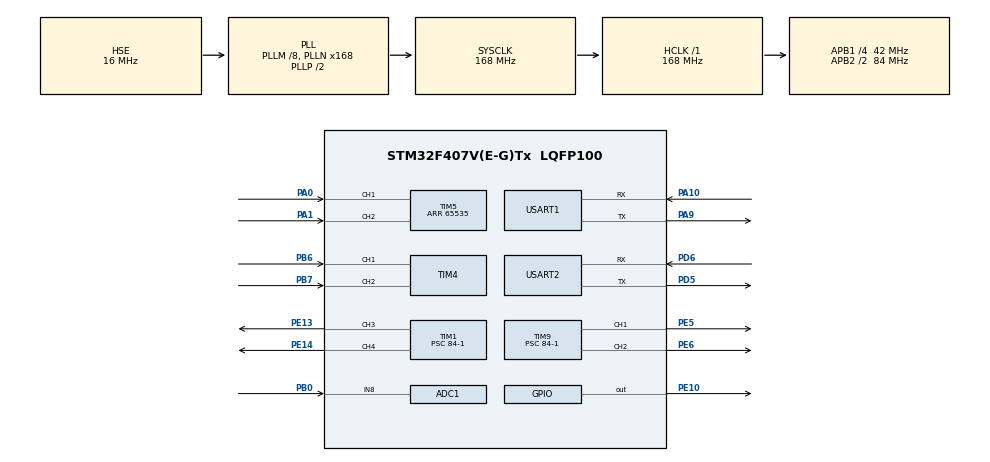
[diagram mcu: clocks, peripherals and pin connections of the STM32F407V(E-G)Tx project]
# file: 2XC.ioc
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ADC1.Channel-0\#ChannelRegularConversion=ADC_CHANNEL_8
ADC1.NbrOfConversionFlag=1
ADC1.Rank-0\#ChannelRegularConversion=1
ADC1.SamplingTime-0\#ChannelRegularConversion=ADC_SAMPLETIME_3CYCLES
ADC1.master=1
Mcu.Family=STM32F4
Mcu.Name=STM32F407V(E-G)Tx
Mcu.Package=LQFP100
NVIC.PriorityGroup=NVIC_PRIORITYGROUP_4
NVIC.TIM6_DAC_IRQn=true\:1\:0\:true\:false\:true\:true\:true\:true
NVIC.TIM7_IRQn=true\:10\:0\:true\:false\:true\:true\:true\:true
NVIC.USART1_IRQn=true\:0\:0\:false\:false\:true\:true\:true\:true
NVIC.USART2_IRQn=true\:0\:0\:false\:false\:true\:true\:true\:true
PA0-WKUP.Signal=S_TIM5_CH1
PA1.Signal=S_TIM5_CH2
PA10.Mode=Asynchronous
PA10.Signal=USART1_RX
PA13.Mode=Serial_Wire
PA13.Signal=SYS_JTMS-SWDIO
PA14.Mode=Serial_Wire
PA14.Signal=SYS_JTCK-SWCLK
PA9.Mode=Asynchronous
PA9.Signal=USART1_TX
PB0.Signal=ADCx_IN8
PB6.Signal=S_TIM4_CH1
PB7.Signal=S_TIM4_CH2
PD5.Mode=Asynchronous
PD5.Signal=USART2_TX
PD6.Mode=Asynchronous
PD6.Signal=USART2_RX
PE10.Signal=GPIO_Output
PE13.Signal=S_TIM1_CH3
PE14.Signal=S_TIM1_CH4
PE5.Signal=S_TIM9_CH1
PE6.Signal=S_TIM9_CH2
PH0-OSC_IN.Mode=HSE-External-Oscillator
PH0-OSC_IN.Signal=RCC_OSC_IN
PH1-OSC_OUT.Mode=HSE-External-Oscillator
PH1-OSC_OUT.Signal=RCC_OSC_OUT
ProjectManager.HeapSize=0x200
ProjectManager.StackSize=0x400
ProjectManager.TargetToolchain=STM32CubeIDE
RCC.48MHZClocksFreq_Value=84000000
RCC.AHBFreq_Value=168000000
RCC.APB1CLKDivider=RCC_HCLK_DIV4
RCC.APB1Freq_Value=42000000
RCC.APB1TimFreq_Value=84000000
RCC.APB2CLKDivider=RCC_HCLK_DIV2
RCC.APB2Freq_Value=84000000
RCC.APB2TimFreq_Value=168000000
RCC.CortexFreq_Value=168000000
RCC.HCLKFreq_Value=168000000
RCC.HSE_VALUE=16000000
RCC.HSI_VALUE=16000000
RCC.LSE_VALUE=32768
RCC.PLLM=8
RCC.PLLN=168
RCC.PLLSourceVirtual=RCC_PLLSOURCE_HSE
RCC.SYSCLKFreq_VALUE=168000000
RCC.SYSCLKSource=RCC_SYSCLKSOURCE_PLLCLK
RCC.VCOOutputFreq_Value=336000000
SH.ADCx_IN8.0=ADC1_IN8,IN8
SH.S_TIM1_CH3.0=TIM1_CH3,PWM Generation3 CH3
SH.S_TIM1_CH4.0=TIM1_CH4,PWM Generation4 CH4
SH.S_TIM4_CH1.0=TIM4_CH1,Encoder_Interface
SH.S_TIM4_CH2.0=TIM4_CH2,Encoder_Interface
SH.S_TIM5_CH1.0=TIM5_CH1,Encoder_Interface
SH.S_TIM5_CH2.0=TIM5_CH2,Encoder_Interface
SH.S_TIM9_CH1.0=TIM9_CH1,PWM Generation1 CH1
SH.S_TIM9_CH2.0=TIM9_CH2,PWM Generation2 CH2
TIM1.Channel-PWM\ Generation3\ CH3=TIM_CHANNEL_3
TIM1.Channel-PWM\ Generation4\ CH4=TIM_CHANNEL_4
TIM1.Period=1000
TIM1.Prescaler=84-1
TIM4.EncoderMode=TIM_ENCODERMODE_TI12
TIM4.IC1Filter=1
TIM4.IC2Filter=1
TIM5.EncoderMode=TIM_ENCODERMODE_TI12
TIM5.IC1Filter=1
TIM5.IC2Filter=1
TIM5.Period=65535
TIM6.Period=8400-1
TIM6.Prescaler=500-1
TIM7.Period=8400-1
TIM7.Prescaler=10*1000-1
TIM9.Channel-PWM\ Generation1\ CH1=TIM_CHANNEL_1
TIM9.Channel-PWM\ Generation2\ CH2=TIM_CHANNEL_2
TIM9.Period=1000
TIM9.Prescaler=84-1
USART1.VirtualMode=VM_ASYNC
USART2.VirtualMode=VM_ASYNC
VP_TIM1_VS_ClockSourceINT.Mode=Internal
VP_TIM6_VS_ClockSourceINT.Mode=Enable_Timer
VP_TIM7_VS_ClockSourceINT.Mode=Enable_Timer
VP_TIM9_VS_ClockSourceINT.Mode=Internal
board=custom

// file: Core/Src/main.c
/* USER CODE BEGIN Header */
/**
  ******************************************************************************
  * @file           : main.c
  * @brief          : Main program body
  ******************************************************************************
  * @attention
  *
  * Copyright (c) 2025 STMicroelectronics.
  * All rights reserved.
  *
  * This software is licensed under terms that can be found in the LICENSE file
  * in the root directory of this software component.
  * If no LICENSE file comes with this software, it is provided AS-IS.
  *
  ******************************************************************************
  */
/* USER CODE END Header */
#include "main.h"
#include "adc.h"
#include "tim.h"
#include "usart.h"
#include "gpio.h"

/* USER CODE BEGIN Includes */
#include <string.h>
#include <stdio.h>
#include <stdbool.h>
#include "motor.h"
#include "encoder.h"
#include "pid.h"
//#include "pid.h"
/* USER CODE END Includes */

/* USER CODE BEGIN PD */
#define RXBUFFERSIZE  255     //最大的接受字节数
#define TXBUFFERSIZE  255     //最大发送字节数
#define MAX_DUTY 1000
//#define MAX_SPEED 1000
/* USER CODE END PD */

/* USER CODE BEGIN PV */
char RxBuffer1[RXBUFFERSIZE];   //接受数据
char TxBuffer1[TXBUFFERSIZE];   //发送数据
uint8_t RxSucceeflag1 = 0;    //接受成功标志

char RxBuffer2[RXBUFFERSIZE];   //接受数据
char TxBuffer2[TXBUFFERSIZE];   //发送数据
uint8_t RxSucceeflag2 = 0;    //接受成功标志

SensorData sensorData = {0};  // Initialize all values to 0
float Batvol=0;
// Z轴角度归零指令
uint8_t hexData[] = {0xFF, 0xAA, 0x52};

WheelSpeeds Currentspeeds = {0}; // Initialize all values to 0
int TargetSpeed = 0, TargetOmega = 0;
bool Speedupdateflag = 0, Pidupdateflag = 0, debug = 0,stop=0;

/* USER CODE END PV */

void SystemClock_Config(void);
/* USER CODE BEGIN PFP */
/**
 * @param pid_out  PID 输出，范围 [0,1000]
 * @param voltage  当前电池电压，范围约 11.1–12.6 V
 * @return         PWM 占空比 duty，范围 [0,1000]
 */
float out2duty(float pid_out, float voltage) {
    // 1. 计算起动死区对应的最小占空比
    const float V_start = 2.2f;      // 起转电压
    float duty_min = V_start / voltage * 1000.0f;

    // 2. 计算满转对应的最大占空比（不超过 1000）
    const float V_full  = 12.0f;     // 满转电压
    float duty_max = V_full / voltage * 1000.0f;
    if (duty_max > 1000.0f) duty_max = 1000.0f;

    // 3. 线性映射
    float duty_range = duty_max - duty_min;
    return duty_min + (pid_out / 1000.0f) * duty_range;
}
void MotorRun(WheelSpeeds speeds)
{
	float voltage= Batvol;         // 获取转换结果

    // 左前轮 (FL)
    if (speeds.wheel_L == 0) {
        // Brake - set both channels high
        __HAL_TIM_SET_COMPARE(&htim1, TIM_CHANNEL_3, MAX_DUTY);
        __HAL_TIM_SET_COMPARE(&htim1, TIM_CHANNEL_4, MAX_DUTY);
    } else if (speeds.wheel_L > 0) {
        // Forward
        __HAL_TIM_SET_COMPARE(&htim1, TIM_CHANNEL_3, 0);
        __HAL_TIM_SET_COMPARE(&htim1, TIM_CHANNEL_4, out2duty(speeds.wheel_L,voltage));
    } else {
        // Backward
        __HAL_TIM_SET_COMPARE(&htim1, TIM_CHANNEL_3, out2duty(speeds.wheel_L,voltage));
        __HAL_TIM_SET_COMPARE(&htim1, TIM_CHANNEL_4, 0);
    }

    // 右前轮 (FR)
    if (speeds.wheel_R == 0) {
        // Brake - set both channels high
        __HAL_TIM_SET_COMPARE(&htim9, TIM_CHANNEL_1, MAX_DUTY);
        __HAL_TIM_SET_COMPARE(&htim9, TIM_CHANNEL_2, MAX_DUTY);
    } else if (speeds.wheel_R > 0) {
        // Forward
        __HAL_TIM_SET_COMPARE(&htim9, TIM_CHANNEL_1, 0);
        __HAL_TIM_SET_COMPARE(&htim9, TIM_CHANNEL_2, out2duty(speeds.wheel_R,voltage));
    } else {
        // Backward
        __HAL_TIM_SET_COMPARE(&htim9, TIM_CHANNEL_1, out2duty(speeds.wheel_R,voltage));
        __HAL_TIM_SET_COMPARE(&htim9, TIM_CHANNEL_2, 0);
    }
}
/* USER CODE END PFP */

int main(void)
{

  /* MCU Configuration--------------------------------------------------------*/

  /* Reset of all peripherals, Initializes the Flash interface and the Systick. */
  HAL_Init();

  /* Configure the system clock */
  SystemClock_Config();

  /* Initialize all configured peripherals */
  MX_GPIO_Init();
  MX_USART2_UART_Init();
  MX_USART1_UART_Init();
  MX_TIM4_Init();
  MX_TIM5_Init();
  MX_TIM6_Init();
  MX_TIM7_Init();
  MX_TIM9_Init();
  MX_TIM1_Init();
  MX_ADC1_Init();
  /* USER CODE BEGIN 2 */

  // 确保正确启动第一次接收
  if(HAL_UART_Receive_IT(&huart1, (uint8_t *)RxBuffer1, 5) != HAL_OK) // 修改接收长度为5
  {
      Error_Handler();
  }
  if(HAL_UART_Receive_IT(&huart2, (uint8_t *)RxBuffer2, 44) != HAL_OK)
  {
        Error_Handler();
  }
  HAL_TIM_PWM_Start(&htim1, TIM_CHANNEL_3);
  HAL_TIM_PWM_Start(&htim1, TIM_CHANNEL_4);
  HAL_TIM_PWM_Start(&htim9, TIM_CHANNEL_1);
  HAL_TIM_PWM_Start(&htim9, TIM_CHANNEL_2);
  HAL_ADC_Start(&hadc1);
  HAL_TIM_Base_Start_IT(&htim6);
  HAL_TIM_Base_Start_IT(&htim7); //debug
  HAL_TIM_Encoder_Start(&htim4, TIM_CHANNEL_ALL);
  HAL_TIM_Encoder_Start(&htim5, TIM_CHANNEL_ALL);

//  MotorRun(speed);
  TargetSpeed=0;

  HAL_ADC_PollForConversion(&hadc1, 50); // 等待转换完成
  Batvol=(HAL_ADC_GetValue(&hadc1) / 4095.0) * 3.3*11;           // 获取转换结果

  /* USER CODE END 2 */

  /* Infinite loop */
  /* USER CODE BEGIN WHILE */
  while (1)
  {
//    if(RxSucceeflag2 == 1)
//    {
//      // HAL_UART_Transmit(&huart2, hexData, sizeof(hexData), HAL_MAX_DELAY);
//    	//上面其他作用
//
//        memset(TxBuffer1, 0x00, sizeof(TxBuffer1));
//        sprintf(TxBuffer1, "W_X%.2f,W_Y%.2f,W_Z%.2f,R%.2f,P%.2f,Y_A%.2f\r\n",
//                sensorData.gyro.x, sensorData.gyro.y, sensorData.gyro.z,
//                sensorData.angle.roll, sensorData.angle.pitch, sensorData.angle.yaw);
//        HAL_UART_Transmit(&huart1, (uint8_t*)TxBuffer1, strlen(TxBuffer1), 100);
//
//        RxSucceeflag2 = 0;
//    }

//    if(Pidupdateflag == 1){
//
//    	if(stop==0){
//    	MotorRun(balance(sensorData, Currentspeeds,
//        TargetSpeed, TargetOmega,
//        &angle_pid, &speed_pid, &turn_pid, &wheel_pid_L, &wheel_pid_R));
//    	HAL_GPIO_TogglePin(GPIOE, GPIO_PIN_10);
//    	}
//    	else{
//    	  __HAL_TIM_SET_COMPARE(&htim1, TIM_CHANNEL_3, MAX_DUTY);
//    	  __HAL_TIM_SET_COMPARE(&htim1, TIM_CHANNEL_4, MAX_DUTY);
//    	  __HAL_TIM_SET_COMPARE(&htim9, TIM_CHANNEL_1, MAX_DUTY);
//    	  __HAL_TIM_SET_COMPARE(&htim9, TIM_CHANNEL_2, MAX_DUTY);
//    	}
//    	Pidupdateflag = 0;
//    }
    if(debug == 1){
//
//             /* ------------------调试用------------------*/
//    	        // 利用 sprintf 将结果附加到 info 数组后面
//    	     char info[100]="Target:";
//    	        sprintf(info + strlen(info), " S: %6d", TargetSpeed);
//    	        sprintf(info + strlen(info), " O: %6d\n", TargetOmega);
//    	        HAL_UART_Transmit(&huart1, (uint8_t*)info, strlen(info), 50);
//    	     // 调试输出当前脉冲数据
//    	     char info1[100] = "Pace:";
//    	     sprintf(info1 + strlen(info1), " L: %6.2f", Currentspeeds.wheel_L);
//    	     sprintf(info1 + strlen(info1), " R: %6.2f\n", Currentspeeds.wheel_R);
//    	     HAL_UART_Transmit(&huart1, (uint8_t*)info1, strlen(info1), 100);

    	     debug = 0;
    	     if(sensorData.angle.pitch>=60||sensorData.angle.pitch<=-60){
    	    	 stop=1;
    	     }
    	     else
    	    	 stop=0;

    	 }
    /* USER CODE END WHILE */

  }
}

void SystemClock_Config(void)
{
  RCC_OscInitTypeDef RCC_OscInitStruct = {0};
  RCC_ClkInitTypeDef RCC_ClkInitStruct = {0};

  /** Configure the main internal regulator output voltage
  */
  __HAL_RCC_PWR_CLK_ENABLE();
  __HAL_PWR_VOLTAGESCALING_CONFIG(PWR_REGULATOR_VOLTAGE_SCALE1);

  /** Initializes the RCC Oscillators according to the specified parameters
  * in the RCC_OscInitTypeDef structure.
  */
  RCC_OscInitStruct.OscillatorType = RCC_OSCILLATORTYPE_HSE;
  RCC_OscInitStruct.HSEState = RCC_HSE_ON;
  RCC_OscInitStruct.PLL.PLLState = RCC_PLL_ON;
  RCC_OscInitStruct.PLL.PLLSource = RCC_PLLSOURCE_HSE;
  RCC_OscInitStruct.PLL.PLLM = 8;
  RCC_OscInitStruct.PLL.PLLN = 168;
  RCC_OscInitStruct.PLL.PLLP = RCC_PLLP_DIV2;
  RCC_OscInitStruct.PLL.PLLQ = 4;
  if (HAL_RCC_OscConfig(&RCC_OscInitStruct) != HAL_OK)
  {
    Error_Handler();
  }

  /** Initializes the CPU, AHB and APB buses clocks
  */
  RCC_ClkInitStruct.ClockType = RCC_CLOCKTYPE_HCLK|RCC_CLOCKTYPE_SYSCLK
                              |RCC_CLOCKTYPE_PCLK1|RCC_CLOCKTYPE_PCLK2;
  RCC_ClkInitStruct.SYSCLKSource = RCC_SYSCLKSOURCE_PLLCLK;
  RCC_ClkInitStruct.AHBCLKDivider = RCC_SYSCLK_DIV1;
  RCC_ClkInitStruct.APB1CLKDivider = RCC_HCLK_DIV4;
  RCC_ClkInitStruct.APB2CLKDivider = RCC_HCLK_DIV2;

  if (HAL_RCC_ClockConfig(&RCC_ClkInitStruct, FLASH_LATENCY_5) != HAL_OK)
  {
    Error_Handler();
  }
}

/* USER CODE BEGIN 4 */

void HAL_TIM_PeriodElapsedCallback(TIM_HandleTypeDef *htim)
{
  if(htim == (&htim6) /*&& Pidupdateflag == 0*/)
  {
		 Currentspeeds.wheel_R = CalculatePulse(GetEncoderPulse_2());
		 Currentspeeds.wheel_L = -CalculatePulse(GetEncoderPulse_3());
		     	if(stop==0){
		     	MotorRun(balance(sensorData, Currentspeeds,
		         TargetSpeed, TargetOmega,
		         &angle_pid, &speed_pid, &turn_pid, &wheel_pid_L, &wheel_pid_R));
		     	HAL_GPIO_TogglePin(GPIOE, GPIO_PIN_10);
		     	}
		     	else
		     	{
		     	  __HAL_TIM_SET_COMPARE(&htim1, TIM_CHANNEL_3, MAX_DUTY);
		     	  __HAL_TIM_SET_COMPARE(&htim1, TIM_CHANNEL_4, MAX_DUTY);
		     	  __HAL_TIM_SET_COMPARE(&htim9, TIM_CHANNEL_1, MAX_DUTY);
		     	  __HAL_TIM_SET_COMPARE(&htim9, TIM_CHANNEL_2, MAX_DUTY);
		     	}
	  Pidupdateflag = 1;
  }
  else if(htim == (&htim7))
  {
	  debug = 1;

  }
}

int checkSum(char RxBuffer[])
{
    int sum = 0;
    for(int i = 0; i < 10; i++)
    {
        sum += RxBuffer[i];
    }
    return (RxBuffer[10] == (char)(sum)) ? 1 : -1;
}

void HAL_UART_ErrorCallback(UART_HandleTypeDef *huart)
{
    if(huart == &huart2)
    {
        // 清除错误标志
        __HAL_UART_CLEAR_FLAG(huart, UART_FLAG_ORE | UART_FLAG_NE | UART_FLAG_FE | UART_FLAG_PE);

        // 重新启动接收
        if(HAL_UART_Receive_IT(&huart2, (uint8_t *)RxBuffer2, 44) != HAL_OK)
        {
            Error_Handler();
        }
    }
    if(huart == &huart1)
    {
        // 清除错误标志
        __HAL_UART_CLEAR_FLAG(huart, UART_FLAG_ORE | UART_FLAG_NE | UART_FLAG_FE | UART_FLAG_PE);

        // 重新启动接收
        if(HAL_UART_Receive_IT(&huart1, (uint8_t *)RxBuffer1, 5) != HAL_OK) // 修改接收长度为5
        {
            Error_Handler();
        }
    }
}

void HAL_UART_RxCpltCallback(UART_HandleTypeDef *huart)
{
    if(huart == &huart1) {
        // Check for valid packet header (0x55)
        if(RxBuffer1[0] != 0x55) {
            HAL_UART_Receive_IT(&huart1, (uint8_t *)RxBuffer1, 5);
            return;
        }

        // Process target speed data
        TargetSpeed = (RxBuffer1[2] << 8) | RxBuffer1[1];
        TargetOmega = (RxBuffer1[4] << 8) | RxBuffer1[3];

        // 将速度更新标志设置为1
        Speedupdateflag = 1;

        // 在函数末尾确保重新启动接收
        if(HAL_UART_Receive_IT(&huart1, (uint8_t *)RxBuffer1, 5) != HAL_OK)
        {
            Error_Handler();
        }

        // 将RxSucceeflag的设置移到这里
        RxSucceeflag1 = 1;
    }

    if(huart == &huart2) {

        // Check for valid packet header (0x55)
        if(RxBuffer2[0] != 0x55) {
            HAL_UART_Receive_IT(&huart2, (uint8_t *)RxBuffer2, 44);
            return;
        }

        // Process acceleration data (0x51)
        if(RxBuffer2[1] == 0x51) {
            int16_t rawAx = (RxBuffer2[3] << 8) | RxBuffer2[2];
            int16_t rawAy = (RxBuffer2[5] << 8) | RxBuffer2[4];
            int16_t rawAz = (RxBuffer2[7] << 8) | RxBuffer2[6];

            // Convert to physical units (m/s²)
            sensorData.accel.x = (float)(rawAx) / 32768.0f * 16.0f * 9.81f;
            sensorData.accel.y = (float)(rawAy) / 32768.0f * 16.0f * 9.81f;
            sensorData.accel.z = (float)(rawAz) / 32768.0f * 16.0f * 9.81f;
        }

        // Process angular velocity data (0x52)
        if(RxBuffer2[12] == 0x52) {
            int16_t rawWx = (RxBuffer2[14] << 8) | RxBuffer2[13];
            int16_t rawWy = (RxBuffer2[16] << 8) | RxBuffer2[15];
            int16_t rawWz = (RxBuffer2[18] << 8) | RxBuffer2[17];

            // Convert to degrees per second
            sensorData.gyro.x = (float)(rawWx) / 32768.0f * 2000.0f;
            sensorData.gyro.y = (float)(rawWy) / 32768.0f * 2000.0f;
            sensorData.gyro.z = (float)(rawWz) / 32768.0f * 2000.0f;
        }

        // Process angle data (0x53)
        if(RxBuffer2[23] == 0x53) {
            int16_t rawRoll = (RxBuffer2[25] << 8) | RxBuffer2[24];
            int16_t rawPitch = (RxBuffer2[27] << 8) | RxBuffer2[26];
            int16_t rawYaw = (RxBuffer2[29] << 8) | RxBuffer2[28];

            // Convert to degrees
            sensorData.angle.roll = (float)(rawRoll) / 32768.0f * 180.0f;
            sensorData.angle.pitch = (float)(rawPitch) / 32768.0f * 180.0f;
            sensorData.angle.yaw = (float)(rawYaw) / 32768.0f * 180.0f;
        }

        // 在函数末尾确保重新启动接收
        if(HAL_UART_Receive_IT(&huart2, (uint8_t *)RxBuffer2, 44) != HAL_OK)
        {
            Error_Handler();
        }

        // 将RxSucceeflag的设置移到这里
        RxSucceeflag2 = 1;

        }
}
/* USER CODE END 4 */

void Error_Handler(void)
{
  __disable_irq();
  while (1)
  {
  }
}
